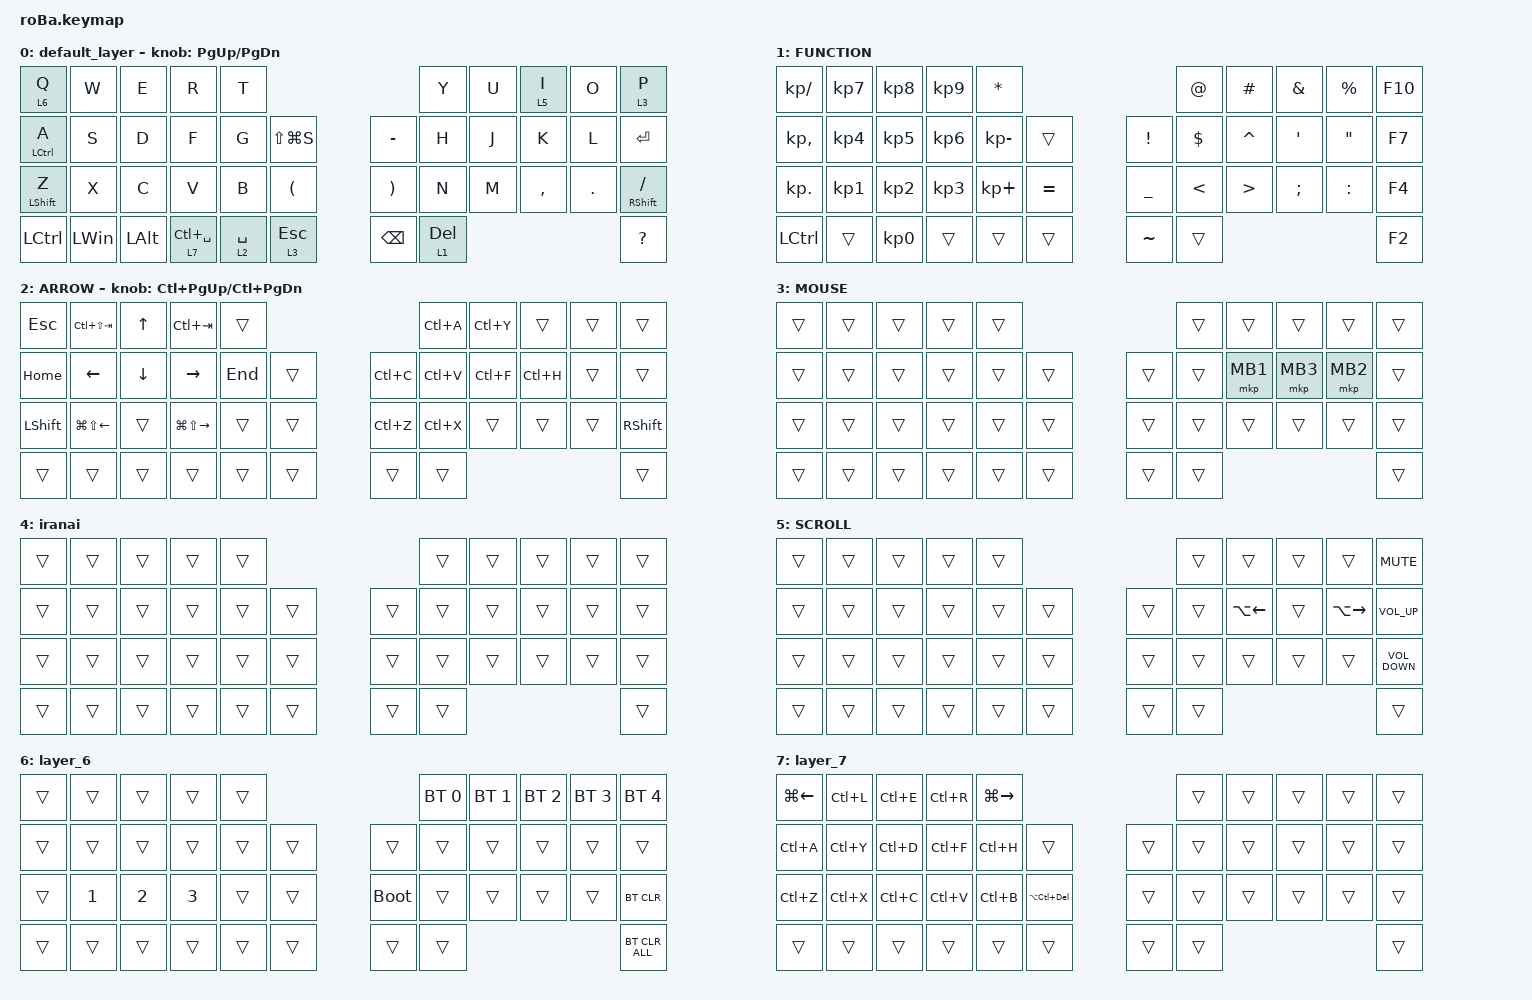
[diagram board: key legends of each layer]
#include <behaviors.dtsi>
#include <dt-bindings/zmk/bt.h>
#include <dt-bindings/zmk/keys.h>
#include <dt-bindings/zmk/pointing.h>

&mt {
    flavor = "balanced";
    quick-tap-ms = <0>;
};

&trackball {
    automouse-layer = <4>;
    scroll-layers = <5>;

    // arrows {
    //     layers = <3>;
    //     bindings =
    //         <&kp RIGHT_ARROW>,
    //         <&kp LEFT_ARROW>,
    //         <&kp UP_ARROW>,
    //         <&kp DOWN_ARROW>;
    //     tick = <10>;
    //     wait-ms = <5>;
    //     tap-ms = <5>;
    // };
};

/ {
    combos {
        compatible = "zmk,combos";

        tab {
            bindings = <&kp TAB>;
            key-positions = <11 12>;
        };

        shift_tab {
            bindings = <&kp LS(TAB)>;
            key-positions = <12 13>;
        };
    };

    macros {
        to_layer_0: to_layer_0 {
            compatible = "zmk,behavior-macro-one-param";
            #binding-cells = <1>;
            bindings = <&to 0 &macro_param_1to1 &kp MACRO_PLACEHOLDER>;
            label = "TO_LAYER_0";
        };
    };

    behaviors {
        lt_to_layer_0: lt_to_layer_0 {
            compatible = "zmk,behavior-hold-tap";
            label = "LAYER_TAP_TO_0";
            bindings = <&mo>, <&to_layer_0>;

            #binding-cells = <2>;
            tapping-term-ms = <200>;
        };
    };

    keymap {
        compatible = "zmk,keymap";

        default_layer {
            bindings = <
&lt_to_layer_0 6 Q  &kp W         &kp E         &kp R                       &kp T                                                            &kp Y         &kp U  &lt 5 I    &kp O    &lt_to_layer_0 3 P
&mt LCTRL A         &kp S         &kp D         &kp F                       &kp G        &kp LS(LG(S))                &kp MINUS              &kp H         &kp J  &kp K      &kp L    &kp ENTER
&mt LEFT_SHIFT Z    &kp X         &kp C         &kp V                       &kp B        &kp LEFT_PARENTHESIS         &kp RIGHT_PARENTHESIS  &kp N         &kp M  &kp COMMA  &kp DOT  &mt RIGHT_SHIFT SLASH
&kp LCTRL           &kp LEFT_WIN  &kp LEFT_ALT  &lt_to_layer_0 7 LC(SPACE)  &lt 2 SPACE  &lt_to_layer_0 3 ESCAPE      &kp BACKSPACE          &lt 1 DELETE                             &kp QUESTION
            >;

            sensor-bindings = <&inc_dec_kp PG_UP PAGE_DOWN>;
        };

        FUNCTION {
            bindings = <
&kp KP_SLASH  &kp KP_NUMBER_7  &kp KP_NUMBER_8  &kp KP_NUMBER_9  &kp ASTRK                                     &kp AT_SIGN    &kp HASH          &kp AMPERSAND  &kp PERCENT        &kp F10
&kp KP_COMMA  &kp KP_NUMBER_4  &kp KP_NUMBER_5  &kp KP_NUMBER_6  &kp KP_MINUS  &trans         &kp EXCLAMATION  &kp DOLLAR     &kp CARET         &kp APOS       &kp DOUBLE_QUOTES  &kp F7
&kp KP_DOT    &kp KP_NUMBER_1  &kp KP_NUMBER_2  &kp KP_NUMBER_3  &kp KP_PLUS   &kp EQUAL      &kp UNDER        &kp LESS_THAN  &kp GREATER_THAN  &kp SEMICOLON  &kp COLON          &kp F4
&kp LCTRL     &trans           &kp KP_NUMBER_0  &trans           &trans        &trans         &kp TILDE        &trans                                                             &kp F2
            >;
        };

        ARROW {
            bindings = <
&kp ESCAPE      &kp LC(LS(TAB))         &kp UP_ARROW    &kp LC(TAB)              &trans                          &kp LC(A)  &kp LC(Y)  &trans     &trans  &trans
&kp HOME        &kp LEFT_ARROW          &kp DOWN_ARROW  &kp RIGHT_ARROW          &kp END  &trans      &kp LC(C)  &kp LC(V)  &kp LC(F)  &kp LC(H)  &trans  &trans
&kp LEFT_SHIFT  &kp LG(LS(LEFT_ARROW))  &trans          &kp LG(LS(RIGHT_ARROW))  &trans   &trans      &kp LC(Z)  &kp LC(X)  &trans     &trans     &trans  &kp RIGHT_SHIFT
&trans          &trans                  &trans          &trans                   &trans   &trans      &trans     &trans                                   &trans
            >;

            sensor-bindings = <&inc_dec_kp LC(PAGE_UP) LC(PAGE_DOWN)>;
        };

        MOUSE {
            bindings = <
&trans  &trans  &trans  &trans  &trans                      &trans  &trans    &trans    &trans    &trans
&trans  &trans  &trans  &trans  &trans  &trans      &trans  &trans  &mkp MB1  &mkp MB3  &mkp MB2  &trans
&trans  &trans  &trans  &trans  &trans  &trans      &trans  &trans  &trans    &trans    &trans    &trans
&trans  &trans  &trans  &trans  &trans  &trans      &trans  &trans                                &trans
            >;
        };

        iranai {
            bindings = <
&trans  &trans  &trans  &trans  &trans                      &trans  &trans  &trans  &trans  &trans
&trans  &trans  &trans  &trans  &trans  &trans      &trans  &trans  &trans  &trans  &trans  &trans
&trans  &trans  &trans  &trans  &trans  &trans      &trans  &trans  &trans  &trans  &trans  &trans
&trans  &trans  &trans  &trans  &trans  &trans      &trans  &trans                          &trans
            >;
        };

        SCROLL {
            bindings = <
&trans  &trans  &trans  &trans  &trans                      &trans  &trans              &trans  &trans               &kp K_MUTE
&trans  &trans  &trans  &trans  &trans  &trans      &trans  &trans  &kp LA(LEFT_ARROW)  &trans  &kp LA(RIGHT_ARROW)  &kp C_VOLUME_UP
&trans  &trans  &trans  &trans  &trans  &trans      &trans  &trans  &trans              &trans  &trans               &kp C_VOLUME_DOWN
&trans  &trans  &trans  &trans  &trans  &trans      &trans  &trans                                                   &trans
            >;
        };

        layer_6 {
            bindings = <
&trans  &trans        &trans        &trans        &trans                           &bt BT_SEL 0  &bt BT_SEL 1  &bt BT_SEL 2  &bt BT_SEL 3  &bt BT_SEL 4
&trans  &trans        &trans        &trans        &trans  &trans      &trans       &trans        &trans        &trans        &trans        &trans
&trans  &kp NUMBER_1  &kp NUMBER_2  &kp NUMBER_3  &trans  &trans      &bootloader  &trans        &trans        &trans        &trans        &bt BT_CLR
&trans  &trans        &trans        &trans        &trans  &trans      &trans       &trans                                                  &bt BT_CLR_ALL
            >;
        };

        layer_7 {
            bindings = <
&kp LG(LEFT_ARROW)  &kp LC(L)  &kp LC(E)  &kp LC(R)  &kp LG(RIGHT_ARROW)                                  &trans  &trans  &trans  &trans  &trans
&kp LC(A)           &kp LC(Y)  &kp LC(D)  &kp LC(F)  &kp LC(H)            &trans                  &trans  &trans  &trans  &trans  &trans  &trans
&kp LC(Z)           &kp LC(X)  &kp LC(C)  &kp LC(V)  &kp LC(B)            &kp LA(LC(DELETE))      &trans  &trans  &trans  &trans  &trans  &trans
&trans              &trans     &trans     &trans     &trans               &trans                  &trans  &trans                          &trans
            >;
        };
    };
};
